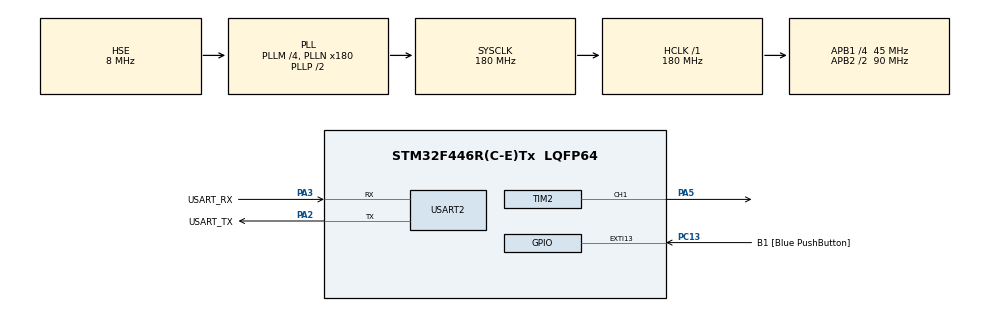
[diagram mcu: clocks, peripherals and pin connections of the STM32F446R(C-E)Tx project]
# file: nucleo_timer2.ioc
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Mcu.Family=STM32F4
Mcu.Name=STM32F446R(C-E)Tx
Mcu.Package=LQFP64
NVIC.PriorityGroup=NVIC_PRIORITYGROUP_0
PA13.GPIO_Label=TMS
PA13.Mode=Serial_Wire
PA13.Signal=SYS_JTMS-SWDIO
PA14.GPIO_Label=TCK
PA14.Mode=Serial_Wire
PA14.Signal=SYS_JTCK-SWCLK
PA2.GPIO_Label=USART_TX
PA2.Mode=Asynchronous
PA2.Signal=USART2_TX
PA3.GPIO_Label=USART_RX
PA3.Mode=Asynchronous
PA3.Signal=USART2_RX
PA5.Signal=S_TIM2_CH1_ETR
PB3.GPIO_Label=SWO
PB3.Signal=SYS_JTDO-SWO
PC13.GPIO_Label=B1 [Blue PushButton]
PC13.GPIO_ModeDefaultEXTI=GPIO_MODE_IT_FALLING
PC13.Signal=GPXTI13
PC14-OSC32_IN.Mode=LSE-External-Oscillator
PC14-OSC32_IN.Signal=RCC_OSC32_IN
PC15-OSC32_OUT.Mode=LSE-External-Oscillator
PC15-OSC32_OUT.Signal=RCC_OSC32_OUT
PH0-OSC_IN.Mode=HSE-External-Oscillator
PH0-OSC_IN.Signal=RCC_OSC_IN
PH1-OSC_OUT.Mode=HSE-External-Oscillator
PH1-OSC_OUT.Signal=RCC_OSC_OUT
ProjectManager.HeapSize=0x200
ProjectManager.StackSize=0x400
ProjectManager.TargetToolchain=STM32CubeIDE
RCC.48MHZClocksFreq_Value=84000000
RCC.AHBFreq_Value=180000000
RCC.APB1CLKDivider=RCC_HCLK_DIV4
RCC.APB1Freq_Value=45000000
RCC.APB1TimFreq_Value=90000000
RCC.APB2CLKDivider=RCC_HCLK_DIV2
RCC.APB2Freq_Value=90000000
RCC.APB2TimFreq_Value=180000000
RCC.CortexFreq_Value=180000000
RCC.FLatency-AdvancedSettings=FLASH_LATENCY_5
RCC.HCLKFreq_Value=180000000
RCC.HSE_VALUE=8000000
RCC.HSI_VALUE=16000000
RCC.PLLM=4
RCC.PLLN=180
RCC.PLLSourceVirtual=RCC_PLLSOURCE_HSE
RCC.SYSCLKFreq_VALUE=180000000
RCC.SYSCLKSource=RCC_SYSCLKSOURCE_PLLCLK
RCC.USBFreq_Value=180000000
RCC.VCOOutputFreq_Value=360000000
SH.S_TIM2_CH1_ETR.0=TIM2_CH1,PWM Generation1 CH1
TIM2.Channel-PWM\ Generation1\ CH1=TIM_CHANNEL_1
TIM2.Period=1499
TIM2.Prescaler=59999
TIM2.Pulse-PWM\ Generation1\ CH1=500
USART2.VirtualMode=VM_ASYNC
VP_TIM2_VS_ClockSourceINT.Mode=Internal
board=NUCLEO-F446RE

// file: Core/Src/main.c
/* USER CODE BEGIN Header */
/**
  ******************************************************************************
  * @file           : main.c
  * @brief          : Main program body
  ******************************************************************************
  * @attention
  *
  * Copyright (c) 2025 STMicroelectronics.
  * All rights reserved.
  *
  * This software is licensed under terms that can be found in the LICENSE file
  * in the root directory of this software component.
  * If no LICENSE file comes with this software, it is provided AS-IS.
  *
  ******************************************************************************
  */
/* USER CODE END Header */
#include "main.h"

/* USER CODE BEGIN Includes */
#include <stdio.h>
/* USER CODE END Includes */

/* USER CODE BEGIN PD */
#define TICK_DELAY 1000
/* USER CODE END PD */

TIM_HandleTypeDef htim2;

UART_HandleTypeDef huart2;

void SystemClock_Config(void);
static void MX_GPIO_Init(void);
static void MX_USART2_UART_Init(void);
static void MX_TIM2_Init(void);

/* USER CODE BEGIN 0 */
int _write(int fd, char* ptr, int len) {
  HAL_StatusTypeDef hstatus;

  if (fd == 1 || fd == 2) {
    hstatus = HAL_UART_Transmit(&huart2, (uint8_t *) ptr, len, HAL_MAX_DELAY);
    if (hstatus == HAL_OK)
      return len;
    else
      return -1;
  }
  return -1;
}
/* USER CODE END 0 */

int main(void)
{

  /* MCU Configuration--------------------------------------------------------*/

  /* Reset of all peripherals, Initializes the Flash interface and the Systick. */
  HAL_Init();

  /* Configure the system clock */
  SystemClock_Config();

  /* Initialize all configured peripherals */
  MX_GPIO_Init();
  MX_USART2_UART_Init();
  MX_TIM2_Init();
  /* USER CODE BEGIN 2 */
  HAL_TIM_PWM_Start(&htim2, TIM_CHANNEL_1);
  printf("\n\n\nStarting nucleo_timer2\n");
  /* USER CODE END 2 */

  /* Infinite loop */
  /* USER CODE BEGIN WHILE */
  uint32_t now = 0, next_tick = TICK_DELAY, loop_cnt = 0;
  while (1)
  {
	  now = HAL_GetTick();

	  	  if (now >= next_tick){
	  		  printf("Tick %lu (Loop Count %lu)\n",now / 1000, loop_cnt);
	  		  loop_cnt = 0;
	  		  next_tick = now + TICK_DELAY;
	  	  }

	  	  ++loop_cnt;
    /* USER CODE END WHILE */

  }
}

void SystemClock_Config(void)
{
  RCC_OscInitTypeDef RCC_OscInitStruct = {0};
  RCC_ClkInitTypeDef RCC_ClkInitStruct = {0};

  /** Configure the main internal regulator output voltage
  */
  __HAL_RCC_PWR_CLK_ENABLE();
  __HAL_PWR_VOLTAGESCALING_CONFIG(PWR_REGULATOR_VOLTAGE_SCALE1);

  /** Initializes the RCC Oscillators according to the specified parameters
  * in the RCC_OscInitTypeDef structure.
  */
  RCC_OscInitStruct.OscillatorType = RCC_OSCILLATORTYPE_HSE;
  RCC_OscInitStruct.HSEState = RCC_HSE_ON;
  RCC_OscInitStruct.PLL.PLLState = RCC_PLL_ON;
  RCC_OscInitStruct.PLL.PLLSource = RCC_PLLSOURCE_HSE;
  RCC_OscInitStruct.PLL.PLLM = 4;
  RCC_OscInitStruct.PLL.PLLN = 180;
  RCC_OscInitStruct.PLL.PLLP = RCC_PLLP_DIV2;
  RCC_OscInitStruct.PLL.PLLQ = 2;
  RCC_OscInitStruct.PLL.PLLR = 2;
  if (HAL_RCC_OscConfig(&RCC_OscInitStruct) != HAL_OK)
  {
    Error_Handler();
  }

  /** Activate the Over-Drive mode
  */
  if (HAL_PWREx_EnableOverDrive() != HAL_OK)
  {
    Error_Handler();
  }

  /** Initializes the CPU, AHB and APB buses clocks
  */
  RCC_ClkInitStruct.ClockType = RCC_CLOCKTYPE_HCLK|RCC_CLOCKTYPE_SYSCLK
                              |RCC_CLOCKTYPE_PCLK1|RCC_CLOCKTYPE_PCLK2;
  RCC_ClkInitStruct.SYSCLKSource = RCC_SYSCLKSOURCE_PLLCLK;
  RCC_ClkInitStruct.AHBCLKDivider = RCC_SYSCLK_DIV1;
  RCC_ClkInitStruct.APB1CLKDivider = RCC_HCLK_DIV4;
  RCC_ClkInitStruct.APB2CLKDivider = RCC_HCLK_DIV2;

  if (HAL_RCC_ClockConfig(&RCC_ClkInitStruct, FLASH_LATENCY_5) != HAL_OK)
  {
    Error_Handler();
  }
}

static void MX_TIM2_Init(void)
{

  TIM_ClockConfigTypeDef sClockSourceConfig = {0};
  TIM_MasterConfigTypeDef sMasterConfig = {0};
  TIM_OC_InitTypeDef sConfigOC = {0};

  htim2.Instance = TIM2;
  htim2.Init.Prescaler = 59999;
  htim2.Init.CounterMode = TIM_COUNTERMODE_UP;
  htim2.Init.Period = 1499;
  htim2.Init.ClockDivision = TIM_CLOCKDIVISION_DIV1;
  htim2.Init.AutoReloadPreload = TIM_AUTORELOAD_PRELOAD_DISABLE;
  if (HAL_TIM_Base_Init(&htim2) != HAL_OK)
  {
    Error_Handler();
  }
  sClockSourceConfig.ClockSource = TIM_CLOCKSOURCE_INTERNAL;
  if (HAL_TIM_ConfigClockSource(&htim2, &sClockSourceConfig) != HAL_OK)
  {
    Error_Handler();
  }
  if (HAL_TIM_PWM_Init(&htim2) != HAL_OK)
  {
    Error_Handler();
  }
  sMasterConfig.MasterOutputTrigger = TIM_TRGO_RESET;
  sMasterConfig.MasterSlaveMode = TIM_MASTERSLAVEMODE_DISABLE;
  if (HAL_TIMEx_MasterConfigSynchronization(&htim2, &sMasterConfig) != HAL_OK)
  {
    Error_Handler();
  }
  sConfigOC.OCMode = TIM_OCMODE_PWM1;
  sConfigOC.Pulse = 500;
  sConfigOC.OCPolarity = TIM_OCPOLARITY_HIGH;
  sConfigOC.OCFastMode = TIM_OCFAST_DISABLE;
  if (HAL_TIM_PWM_ConfigChannel(&htim2, &sConfigOC, TIM_CHANNEL_1) != HAL_OK)
  {
    Error_Handler();
  }
  HAL_TIM_MspPostInit(&htim2);

}

static void MX_USART2_UART_Init(void)
{

  huart2.Instance = USART2;
  huart2.Init.BaudRate = 115200;
  huart2.Init.WordLength = UART_WORDLENGTH_8B;
  huart2.Init.StopBits = UART_STOPBITS_1;
  huart2.Init.Parity = UART_PARITY_NONE;
  huart2.Init.Mode = UART_MODE_TX_RX;
  huart2.Init.HwFlowCtl = UART_HWCONTROL_NONE;
  huart2.Init.OverSampling = UART_OVERSAMPLING_16;
  if (HAL_UART_Init(&huart2) != HAL_OK)
  {
    Error_Handler();
  }

}

static void MX_GPIO_Init(void)
{
  GPIO_InitTypeDef GPIO_InitStruct = {0};

  /* GPIO Ports Clock Enable */
  __HAL_RCC_GPIOC_CLK_ENABLE();
  __HAL_RCC_GPIOH_CLK_ENABLE();
  __HAL_RCC_GPIOA_CLK_ENABLE();
  __HAL_RCC_GPIOB_CLK_ENABLE();

  /*Configure GPIO pin : B1_Pin */
  GPIO_InitStruct.Pin = B1_Pin;
  GPIO_InitStruct.Mode = GPIO_MODE_IT_FALLING;
  GPIO_InitStruct.Pull = GPIO_NOPULL;
  HAL_GPIO_Init(B1_GPIO_Port, &GPIO_InitStruct);

}

void Error_Handler(void)
{
  __disable_irq();
  while (1)
  {
  }
}
